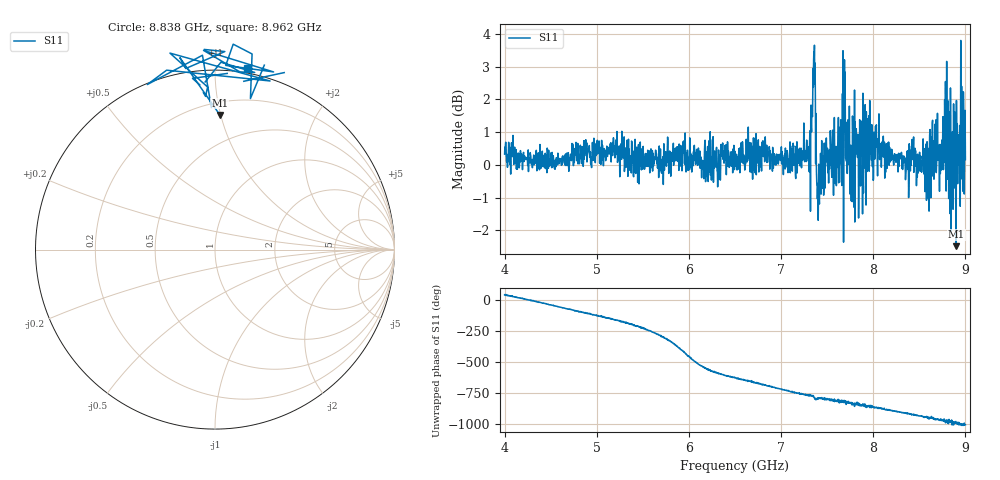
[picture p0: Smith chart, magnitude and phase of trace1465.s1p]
! Created with skrf 1.8.0 (http://scikit-rf.org).
# Hz S RI R 50.0
!freq ReS11 ImS11
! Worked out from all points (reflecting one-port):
!   1601 points, 4 GHz to 9 GHz, reference 50 ohm
!   lowest |S11| = -2.5 dB at 8.9 GHz (marker M1), VSWR 7.03, Z = 14.4 + j49.7 ohm
!   phase of S11 starts at 46 deg and turns -1052 deg over the sweep
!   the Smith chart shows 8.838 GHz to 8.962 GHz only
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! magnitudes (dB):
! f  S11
! 4 GHz  0.3
! 4.625 GHz  0.0
! 5.25 GHz  -0.4
! 5.875 GHz  0.4
! 6.5 GHz  0.4
! 7.125 GHz  0.3
! 7.294 GHz  0.4
! 7.319 GHz  -1.4
! 7.347 GHz  3.0
! 7.366 GHz  2.5
! 7.397 GHz  -0.7
! 7.409 GHz  0.0
! 7.512 GHz  0.2
! 7.609 GHz  -0.1
! 7.672 GHz  3.5
! 7.75 GHz  -0.6
! 7.769 GHz  -0.5
! 7.962 GHz  2.0
! 8.375 GHz  -0.1
! 8.441 GHz  -0.2
! 8.584 GHz  0.7
! 8.656 GHz  0.6
! 8.738 GHz  0.2
! 8.775 GHz  2.0
! 8.856 GHz  -0.1
! 8.9 GHz  -2.5
! 8.972 GHz  0.7
! 9 GHz  0.2
